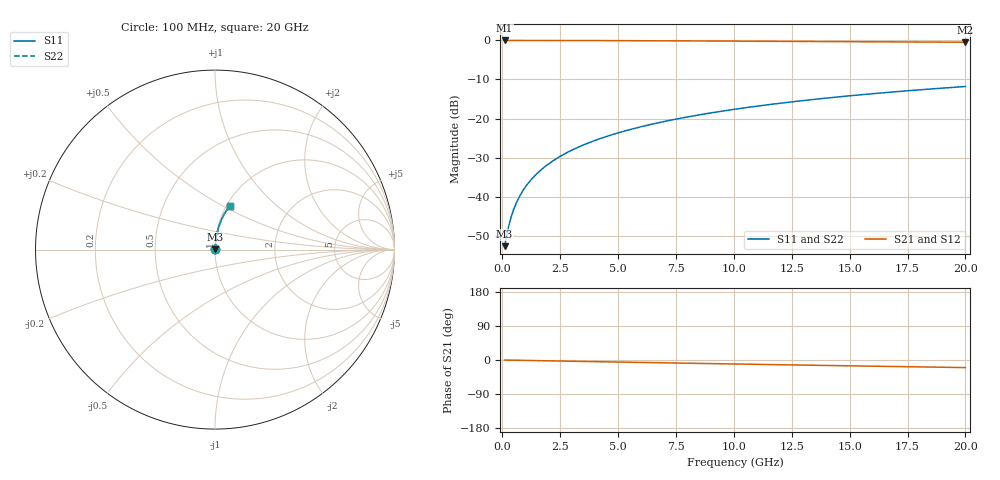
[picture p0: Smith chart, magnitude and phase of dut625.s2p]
! Touchstone file exported from HFSS 2024.1.0
!  File:  C:/UserFiles/LocalFiles/RDL_TSV_Batchsim/temp_RDL_top_625_1779780375.aedt
!  Generated:  03:28:29 PM May 26, 2026
!  Design:  RDL_top
!  Project:  temp_RDL_top_625_1779780375
!  Setup:  Setup1
!  Solution:  Sweep
! Variables:
!  dtsv = 10.80580581um
!  hbump = 3um
!  htsv = 62.8um
!  ldown = 100um
!  lrdl = 229.39um
!  p = 40
!  p1 = 44.68um
!  rhole = 1um
!  t = 450um
!  tdown = 3.915915916um
!  trdl = 4.03um
!  wdown = 15.38538539um
!  wrdl = 11.35um
# GHz S MA R 50.000000
! Terminal data exported
! Port[1] = Box2_T1
! Port[2] = Box2_T2
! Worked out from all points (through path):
!   200 points, 100 MHz to 20 GHz, reference 50 ohm
!   highest |S21| = -0.02 dB at 100 MHz (marker M1); lowest = -0.5 dB at 20 GHz (marker M2)
!   group delay of S21, straight-line fit = 2.78 ps
!   lowest |S11| = -52.7 dB at 100 MHz (marker M3), VSWR 1.00, Z = 50.2 + j0.136 ohm
!   |S11| at or under -10 dB: start of sweep to end of sweep
!   |S22| runs from -52.7 to -11.8 dB; largest |S21 - S12| = 5.4e-15
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0.1  0.002325 35.5  0.9981 -0.1  0.9981 -0.1  0.002325 35.5
! Gamma 0 0 0 0
! Port Impedance 50 0 50 0
0.2  0.003309 54.5  0.9981 -0.2  0.9981 -0.2  0.003309 54.5
0.3  0.004475 64.0  0.998 -0.3  0.998 -0.3  0.004475 64.0
0.4  0.005703 69.4  0.998 -0.4  0.998 -0.4  0.005703 69.4
0.5  0.006955 72.9  0.9979 -0.6  0.9979 -0.6  0.006955 72.9
0.6  0.008219 75.2  0.9979 -0.7  0.9979 -0.7  0.008219 75.2
0.8  0.01077 78.3  0.9978 -0.9  0.9978 -0.9  0.01077 78.3
1.1  0.01463 80.9  0.9976 -1.2  0.9976 -1.2  0.01463 80.9
1.5  0.0198 82.7  0.9973 -1.7  0.9973 -1.7  0.0198 82.7
1.8  0.02369 83.4  0.9971 -2.0  0.9971 -2.0  0.02369 83.4
2.1  0.0276 83.9  0.9968 -2.3  0.9968 -2.3  0.0276 83.9
2.7  0.03541 84.3  0.9961 -3.0  0.9961 -3.0  0.03541 84.3
3.5  0.04586 84.4  0.995 -3.8  0.995 -3.8  0.04586 84.4
4.2  0.05501 84.3  0.9938 -4.6  0.9938 -4.6  0.05501 84.3
5  0.06548 83.9  0.9923 -5.4  0.9923 -5.4  0.06548 83.9
5.9  0.07727 83.5  0.9904 -6.4  0.9904 -6.4  0.07727 83.5
6.8  0.08907 82.9  0.9883 -7.3  0.9883 -7.3  0.08907 82.9
8.3  0.1087 81.8  0.9844 -8.8  0.9844 -8.8  0.1087 81.8
10.1  0.1323 80.3  0.9794 -10.6  0.9794 -10.6  0.1323 80.3
13.4  0.175 77.5  0.9692 -13.9  0.9692 -13.9  0.175 77.5
16.7  0.2167 74.5  0.9579 -17.0  0.9579 -17.0  0.2167 74.4
20  0.257 71.4  0.9457 -20.0  0.9457 -20.0  0.257 71.4
